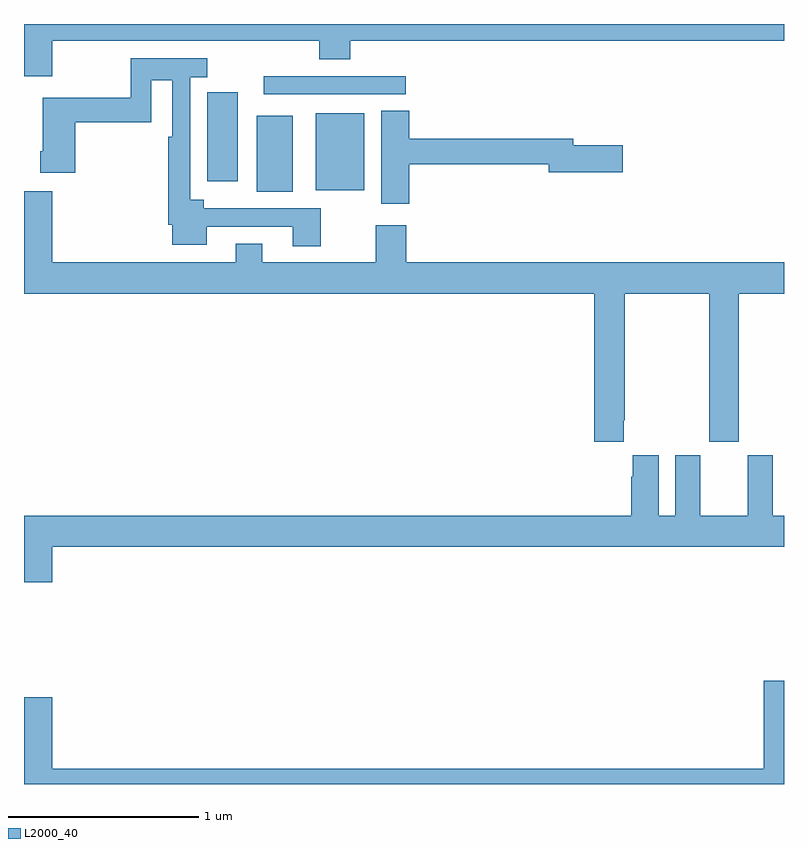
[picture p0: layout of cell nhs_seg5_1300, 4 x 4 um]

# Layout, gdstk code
import gdstk
lib = gdstk.Library(unit=1e-6, precision=1e-09)
def R(c, l, rs):  # rectangles x0, y0, x1, y1
    for r in rs: c.add(gdstk.rectangle(r[:2], r[2:], *l))
def P(c, l, *ps):  # polygons
    for p in ps: c.add(gdstk.Polygon(p, *l))
L2000_40 = (2000, 40)

nhs_seg5_1300 = lib.new_cell('nhs_seg5_1300')
R(nhs_seg5_1300, L2000_40, [(190.226,903.917,190.414,904.315), (190.535,903.923,190.792,904.33), (189.965,903.972,190.126,904.439), (190.263,904.428,191.008,904.524)])
P(nhs_seg5_1300, L2000_40, [(189.148,904.712),(190.553,904.712),(190.553,904.613),(190.718,904.613),(190.718,904.712),(193,904.712),(193,904.799),(189,904.799),(189,904.524),(189.148,904.524)],
  [(190.563,903.828),(189.946,903.828),(189.946,903.874),(189.876,903.874),(189.876,904.52),(189.965,904.52),(189.965,904.62),(189.561,904.62),(189.561,904.411),(189.098,904.411),(189.098,904.129),(189.086,904.129),(189.086,904.017),(189.269,904.017),(189.269,904.282),(189.669,904.282),(189.669,904.504),(189.78,904.504),(189.78,904.205),(189.76,904.205),(189.76,903.742),(189.779,903.742),(189.779,903.638),(189.961,903.638),(189.961,903.732),(190.415,903.732),(190.415,903.63),(190.563,903.63)],
  [(191.027,904.06),(191.762,904.06),(191.762,904.018),(192.151,904.018),(192.151,904.16),(191.89,904.16),(191.89,904.196),(191.027,904.196),(191.027,904.343),(190.88,904.343),(190.88,903.852),(191.027,903.852)],
  [(192.157,902.713),(192.162,902.713),(192.162,903.38),(192.607,903.38),(192.607,902.601),(192.762,902.601),(192.762,903.38),(193,903.38),(193,903.544),(191.012,903.544),(191.012,903.739),(190.852,903.739),(190.852,903.544),(190.255,903.544),(190.255,903.643),(190.115,903.643),(190.115,903.544),(189.148,903.544),(189.148,903.919),(189,903.919),(189,903.38),(192.002,903.38),(192.002,902.601),(192.157,902.601)],
  [(189.148,902.048),(193,902.048),(193,902.212),(192.94,902.212),(192.94,902.53),(192.809,902.53),(192.809,902.212),(192.559,902.212),(192.559,902.53),(192.428,902.53),(192.428,902.212),(192.34,902.212),(192.34,902.53),(192.203,902.53),(192.203,902.417),(192.197,902.417),(192.197,902.212),(189,902.212),(189,901.86),(189.148,901.86)],
  [(193,901.342),(192.893,901.342),(192.893,900.88),(189.148,900.88),(189.148,901.255),(189,901.255),(189,900.799),(193,900.799)])

lib.write_gds('nhs_seg5_1300.gds')
